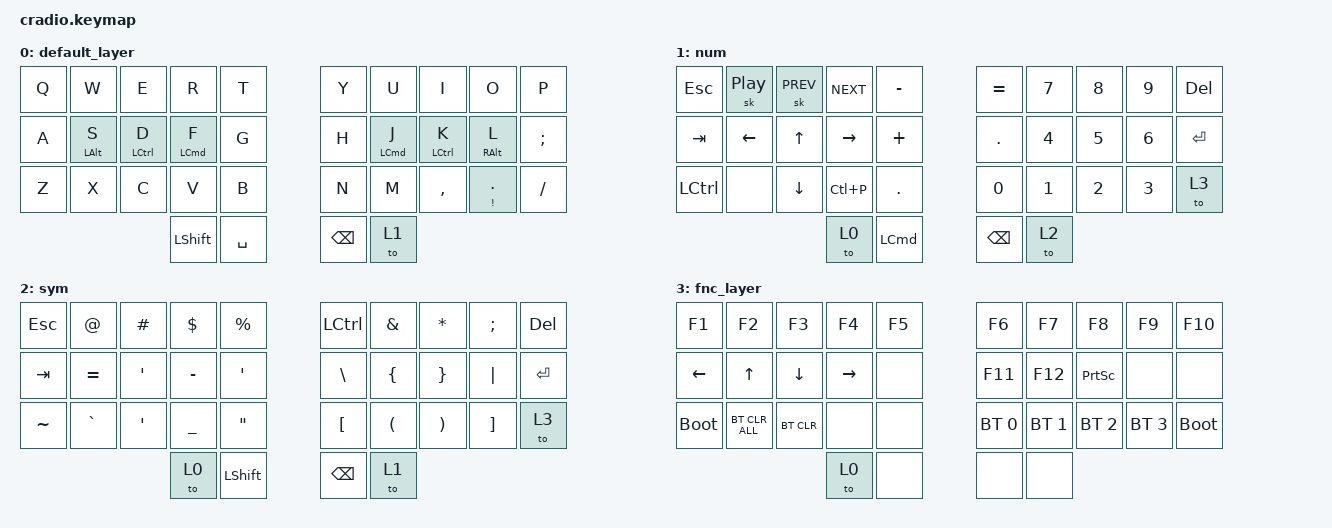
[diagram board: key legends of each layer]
/*
 * Copyright (c) 2020 The ZMK Contributors
 *
 * SPDX-License-Identifier: MIT
 */

#include "keymap_italian.h"
#include <behaviors.dtsi>
#include <dt-bindings/zmk/bt.h>
#include <dt-bindings/zmk/keys.h>

// Layer definitions

#define BASE 0
#define SYM 1
#define EXT 2
#define FNC 3
#define SYM2 4
#define ACCENT 5
#define SETTINGS 6

// -----------------

&mt {
    //  flavor = "tap-preferred";
    // tapping_term_ms = <200>;

    flavor = "balanced";
    tapping-term-ms = <300>;
};

&sk { ignore-modifiers; };

/ {
    macros {
        // sometimes my device thinks a modifier is being held down
        // pressing all modifiers fixes it.

        unstick: unstick {
            label = "ZM_unstick";
            compatible = "zmk,behavior-macro";
            #binding-cells = <0>;
            bindings = <&kp LSHIFT &kp RSHIFT &kp LCTRL &kp RCTRL &kp LALT &kp RALT &kp LGUI &kp RGUI>;
        };
    };

    combos {
        compatible = "zmk,combos";

        // both right thumb keys
        // internal-left & external-right thumb keys
        // both left thumb keys

        enter {
            bindings = <&kp ENTER>;
            key-positions = <31 32>;
        };

        caps {
            bindings = <&kp CAPSLOCK>;
            key-positions = <30 33>;
        };
    };

    behaviors {
        holdtap: holdtap {
            compatible = "zmk,behavior-hold-tap";
            label = "HOLDTAP";
            bindings = <&kp>, <&kp>;

            #binding-cells = <2>;
            tapping-term-ms = <300>;
            flavor = "tap-preferred";
        };
    };

    keymap {
        compatible = "zmk,keymap";

        // Base alpha layer

        default_layer {
            bindings = <
&kp Q  &kp W           &kp E               &kp R               &kp T        &kp Y          &kp U               &kp I               &kp O                   &kp P
&kp A  &mt LEFT_ALT S  &mt LEFT_CONTROL D  &mt LEFT_COMMAND F  &kp G        &kp H          &mt LEFT_COMMAND J  &mt LEFT_CONTROL K  &mt RIGHT_ALT L         &kp SEMICOLON
&kp Z  &kp X           &kp C               &kp V               &kp B        &kp N          &kp M               &kp COMMA           &mt EXCLAMATION PERIOD  &kp SLASH
                                           &kp LEFT_SHIFT      &kp SPACE    &kp BACKSPACE  &to 1
            >;
        };

        num {
            bindings = <
&kp ESC           &sk C_PLAY_PAUSE  &sk C_PREV    &kp C_NEXT  &kp MINUS     &kp EQUAL      &kp N7        &kp N8        &kp N9        &kp DELETE
&kp TAB           &kp LEFT          &kp UP_ARROW  &kp RIGHT   &kp PLUS      &kp PERIOD     &kp NUMBER_4  &kp N5        &kp NUMBER_6  &kp ENTER
&kp LEFT_CONTROL  &none             &kp DOWN      &kp LC(P)   &kp PERIOD    &kp N0         &kp NUMBER_1  &kp NUMBER_2  &kp NUMBER_3  &to 3
                                                  &to 0       &kp LCMD      &kp BACKSPACE  &to 2
            >;
        };

        sym {
            bindings = <
&kp ESCAPE  &kp AT_SIGN  &kp HASH  &kp DOLLAR  &kp PERCENT          &kp LCTRL         &kp AMPERSAND         &kp ASTERISK           &kp SEMICOLON      &kp DELETE
&kp TAB     &kp EQUAL    &kp SQT   &kp MINUS   &kp SQT              &kp BACKSLASH     &kp LEFT_BRACE        &kp RIGHT_BRACE        &kp PIPE           &kp ENTER
&kp TILDE   &kp GRAVE    &kp SQT   &kp UNDER   &kp DOUBLE_QUOTES    &kp LEFT_BRACKET  &kp LEFT_PARENTHESIS  &kp RIGHT_PARENTHESIS  &kp RIGHT_BRACKET  &to 3
                                   &to 0       &kp LEFT_SHIFT       &kp BACKSPACE     &to 1
            >;
        };

        fnc_layer {
            bindings = <
&kp F1       &kp F2          &kp F3      &kp F4     &kp F5    &kp F6        &kp F7        &kp F8           &kp F9        &kp F10
&kp LEFT     &kp UP_ARROW    &kp DOWN    &kp RIGHT  &none     &kp F11       &kp F12       &kp PRINTSCREEN  &none         &none
&bootloader  &bt BT_CLR_ALL  &bt BT_CLR  &none      &none     &bt BT_SEL 0  &bt BT_SEL 1  &bt BT_SEL 2     &bt BT_SEL 3  &bootloader
                                         &to 0      &none     &none         &none
            >;
        };

        // Low frequency symbols.
        // Used to type regional accents.
        // Used to change the keyboard's settings.
    };
};
